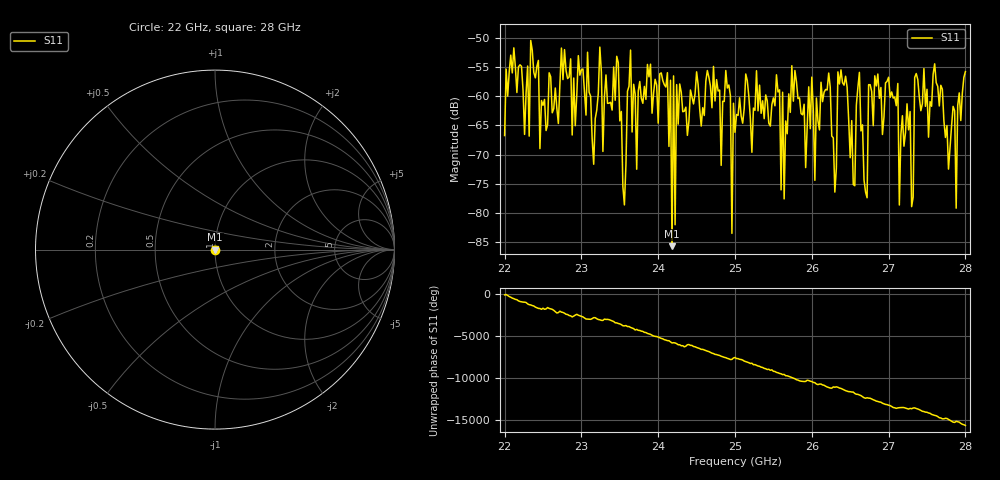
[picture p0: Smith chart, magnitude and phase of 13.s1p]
#  HZ  S  RI  R  50.00
! Rohde & Schwarz ZVA40 4Ports - Version 3.90 - 1145.1110k42 SN: 100403
! Date: 2023-10-04 11:42:42
! Measurement: S12
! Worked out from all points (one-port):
!   301 points, 22 GHz to 28 GHz, reference 50 ohm
!   lowest |S11| = -85.7 dB at 24.18 GHz (marker M1), VSWR 1.00, Z = 50 - j0.00455 ohm
!   |S11| at or under -10 dB: start of sweep to end of sweep
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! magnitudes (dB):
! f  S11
! 22 GHz  -66.7
! 22.76 GHz  -57.2
! 23.5 GHz  -64.2
! 23.56 GHz  -78.6
! 23.64 GHz  -52.1
! 23.72 GHz  -72.5
! 24.12 GHz  -56.0
! 24.16 GHz  -57.3
! 24.18 GHz  -85.7
! 24.2 GHz  -56.6
! 24.22 GHz  -82.0
! 24.24 GHz  -58.0
! 24.26 GHz  -64.8
! 24.96 GHz  -83.5
! 25 GHz  -66.2
! 25.54 GHz  -56.4
! 25.6 GHz  -76.0
! 25.62 GHz  -59.3
! 25.64 GHz  -77.6
! 25.76 GHz  -60.9
! 26.5 GHz  -70.5
! 27.26 GHz  -65.8
! 27.3 GHz  -78.9
! 27.34 GHz  -56.8
! 27.6 GHz  -54.5
! 27.86 GHz  -62.5
! 27.88 GHz  -79.2
! 28 GHz  -55.8
